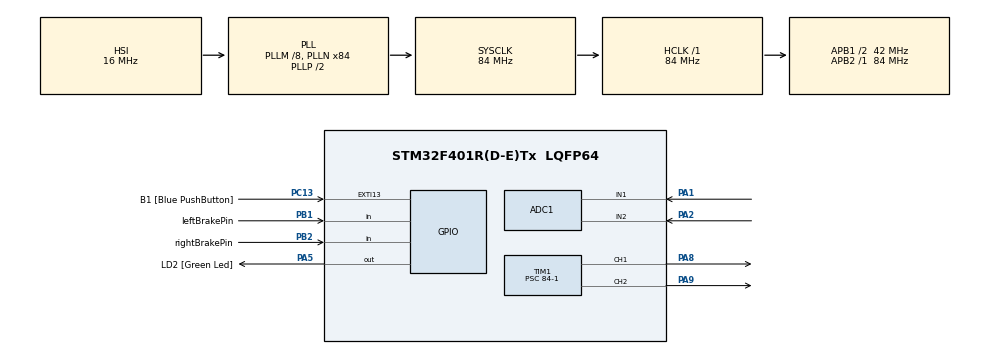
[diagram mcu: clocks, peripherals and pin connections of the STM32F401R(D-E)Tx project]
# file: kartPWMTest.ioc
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ADC1.Channel-0\#ChannelRegularConversion=ADC_CHANNEL_1
ADC1.Channel-1\#ChannelRegularConversion=ADC_CHANNEL_2
ADC1.ContinuousConvMode=ENABLE
ADC1.DMAContinuousRequests=ENABLE
ADC1.DataAlign=ADC_DATAALIGN_RIGHT
ADC1.InjNumberOfConversion=0
ADC1.NbrOfConversion=2
ADC1.NbrOfConversionFlag=1
ADC1.Rank-0\#ChannelRegularConversion=1
ADC1.Rank-1\#ChannelRegularConversion=2
ADC1.SamplingTime-0\#ChannelRegularConversion=ADC_SAMPLETIME_480CYCLES
ADC1.SamplingTime-1\#ChannelRegularConversion=ADC_SAMPLETIME_480CYCLES
ADC1.ScanConvMode=ENABLE
ADC1.master=1
Dma.ADC1.1.Direction=DMA_PERIPH_TO_MEMORY
Dma.ADC1.1.FIFOMode=DMA_FIFOMODE_DISABLE
Dma.ADC1.1.Instance=DMA2_Stream0
Dma.ADC1.1.MemDataAlignment=DMA_MDATAALIGN_WORD
Dma.ADC1.1.MemInc=DMA_MINC_ENABLE
Dma.ADC1.1.Mode=DMA_CIRCULAR
Dma.ADC1.1.PeriphDataAlignment=DMA_PDATAALIGN_WORD
Dma.ADC1.1.PeriphInc=DMA_PINC_DISABLE
Dma.ADC1.1.Priority=DMA_PRIORITY_LOW
Dma.Request0=TIM1_CH1
Dma.Request1=ADC1
Dma.Request2=TIM1_CH2
Dma.TIM1_CH1.0.Direction=DMA_MEMORY_TO_PERIPH
Dma.TIM1_CH1.0.FIFOMode=DMA_FIFOMODE_DISABLE
Dma.TIM1_CH1.0.Instance=DMA2_Stream1
Dma.TIM1_CH1.0.MemDataAlignment=DMA_MDATAALIGN_HALFWORD
Dma.TIM1_CH1.0.MemInc=DMA_MINC_ENABLE
Dma.TIM1_CH1.0.Mode=DMA_NORMAL
Dma.TIM1_CH1.0.PeriphDataAlignment=DMA_PDATAALIGN_HALFWORD
Dma.TIM1_CH1.0.PeriphInc=DMA_PINC_DISABLE
Dma.TIM1_CH1.0.Priority=DMA_PRIORITY_LOW
Dma.TIM1_CH2.2.Direction=DMA_MEMORY_TO_PERIPH
Dma.TIM1_CH2.2.FIFOMode=DMA_FIFOMODE_DISABLE
Dma.TIM1_CH2.2.Instance=DMA2_Stream2
Dma.TIM1_CH2.2.MemDataAlignment=DMA_MDATAALIGN_HALFWORD
Dma.TIM1_CH2.2.MemInc=DMA_MINC_ENABLE
Dma.TIM1_CH2.2.Mode=DMA_NORMAL
Dma.TIM1_CH2.2.PeriphDataAlignment=DMA_PDATAALIGN_HALFWORD
Dma.TIM1_CH2.2.PeriphInc=DMA_PINC_DISABLE
Dma.TIM1_CH2.2.Priority=DMA_PRIORITY_LOW
Mcu.Family=STM32F4
Mcu.Name=STM32F401R(D-E)Tx
Mcu.Package=LQFP64
NVIC.DMA2_Stream0_IRQn=true\:0\:0\:false\:false\:true\:false\:true\:true
NVIC.DMA2_Stream1_IRQn=true\:0\:0\:false\:false\:true\:false\:true\:true
NVIC.DMA2_Stream2_IRQn=true\:0\:0\:false\:false\:true\:false\:true\:true
NVIC.EXTI15_10_IRQn=true\:0\:0\:false\:false\:true\:true\:true\:true
NVIC.PriorityGroup=NVIC_PRIORITYGROUP_0
PA1.Signal=ADCx_IN1
PA13.GPIO_Label=TMS
PA13.Mode=Serial_Wire
PA13.Signal=SYS_JTMS-SWDIO
PA14.GPIO_Label=TCK
PA14.Mode=Serial_Wire
PA14.Signal=SYS_JTCK-SWCLK
PA2.Signal=ADCx_IN2
PA3.GPIO_Label=USART_RX
PA3.GPIO_Mode=GPIO_MODE_AF_PP
PA3.GPIO_PuPd=GPIO_NOPULL
PA3.GPIO_Speed=GPIO_SPEED_FREQ_LOW
PA3.Signal=USART2_RX
PA5.GPIO_Label=LD2 [Green Led]
PA5.GPIO_Mode=GPIO_MODE_OUTPUT_PP
PA5.GPIO_PuPd=GPIO_NOPULL
PA5.GPIO_Speed=GPIO_SPEED_FREQ_LOW
PA5.Signal=GPIO_Output
PA8.Signal=S_TIM1_CH1
PA9.Signal=S_TIM1_CH2
PB1.GPIO_Label=leftBrakePin
PB1.Signal=GPIO_Input
PB2.GPIO_Label=rightBrakePin
PB2.Signal=GPIO_Input
PB3.GPIO_Label=SWO
PB3.Signal=SYS_JTDO-SWO
PC13-ANTI_TAMP.GPIO_Label=B1 [Blue PushButton]
PC13-ANTI_TAMP.GPIO_ModeDefaultEXTI=GPIO_MODE_IT_FALLING
PC13-ANTI_TAMP.GPIO_PuPd=GPIO_NOPULL
PC13-ANTI_TAMP.Signal=GPXTI13
PC14-OSC32_IN.Mode=LSE-External-Oscillator
PC14-OSC32_IN.Signal=RCC_OSC32_IN
PC15-OSC32_OUT.Mode=LSE-External-Oscillator
PC15-OSC32_OUT.Signal=RCC_OSC32_OUT
PH0\ -\ OSC_IN.Mode=HSE-External-Clock-Source
PH0\ -\ OSC_IN.Signal=RCC_OSC_IN
PH1\ -\ OSC_OUT.Mode=HSE-External-Clock-Source
PH1\ -\ OSC_OUT.Signal=RCC_OSC_OUT
ProjectManager.HeapSize=0x200
ProjectManager.StackSize=0x400
ProjectManager.TargetToolchain=STM32CubeIDE
RCC.48MHZClocksFreq_Value=24000000
RCC.AHBFreq_Value=84000000
RCC.APB1CLKDivider=RCC_HCLK_DIV2
RCC.APB1Freq_Value=42000000
RCC.APB1TimFreq_Value=84000000
RCC.APB2Freq_Value=84000000
RCC.APB2TimFreq_Value=84000000
RCC.CortexFreq_Value=84000000
RCC.HCLKFreq_Value=84000000
RCC.HSE_VALUE=8000000
RCC.HSI_VALUE=16000000
RCC.PLLM=8
RCC.PLLN=84
RCC.PLLQ=7
RCC.SYSCLKFreq_VALUE=84000000
RCC.SYSCLKSource=RCC_SYSCLKSOURCE_PLLCLK
RCC.VCOOutputFreq_Value=168000000
SH.ADCx_IN1.0=ADC1_IN1,IN1
SH.ADCx_IN2.0=ADC1_IN2,IN2
SH.S_TIM1_CH1.0=TIM1_CH1,PWM Generation1 CH1
SH.S_TIM1_CH2.0=TIM1_CH2,Output Compare2 CH2
TIM1.Channel-Output\ Compare2\ CH2=TIM_CHANNEL_2
TIM1.Channel-PWM\ Generation1\ CH1=TIM_CHANNEL_1
TIM1.Period=100-1
TIM1.Prescaler=84-1
VP_TIM1_VS_ClockSourceINT.Mode=Internal
board=NUCLEO-F401RE

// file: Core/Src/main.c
/* USER CODE BEGIN Header */
/**
  ******************************************************************************
  * @file           : main.c
  * @brief          : Main program body
  ******************************************************************************
  * @attention
  *
  * Copyright (c) 2024 STMicroelectronics.
  * All rights reserved.
  *
  * This software is licensed under terms that can be found in the LICENSE file
  * in the root directory of this software component.
  * If no LICENSE file comes with this software, it is provided AS-IS.
  *
  ******************************************************************************
  */
/* USER CODE END Header */
#include "main.h"
#include "adc.h"
#include "dma.h"
#include "tim.h"
#include "gpio.h"

/* USER CODE BEGIN Includes */

#include <stdio.h>

/* USER CODE END Includes */

void SystemClock_Config(void);
/* USER CODE BEGIN PFP */

uint32_t map(uint32_t x, uint32_t in_min, uint32_t in_max, uint32_t out_min, uint32_t out_max);

void analogWriteLeft(int val);

void analogWriteRight(int val);
/* USER CODE END PFP */

/* USER CODE BEGIN 0 */

uint8_t sig = 0;

/* USER CODE END 0 */

int main(void)
{

  /* USER CODE BEGIN 1 */

	// [0] includes x values, [1] includes y values
	uint32_t xyData[2];

	//__attribute__((aligned(4))) uint32_t xyData[2];

  /* USER CODE END 1 */

  /* MCU Configuration--------------------------------------------------------*/

  /* Reset of all peripherals, Initializes the Flash interface and the Systick. */
  HAL_Init();

  /* Configure the system clock */
  SystemClock_Config();

  /* Initialize all configured peripherals */
  MX_GPIO_Init();
  MX_DMA_Init();
  MX_TIM1_Init();
  MX_ADC1_Init();
  /* USER CODE BEGIN 2 */

	// Assign 30% duty cycle of 30% by assigning CCR1 register within TIM1
	TIM1->CCR1 = 30;
	TIM1->CCR2 = 30;

	// Begin the PWM timer
	HAL_TIM_PWM_Start(&htim1, TIM_CHANNEL_1);
	HAL_TIM_PWM_Start(&htim1, TIM_CHANNEL_2);

	//Start ADC through DMA
	HAL_ADC_Start_DMA(&hadc1, xyData, 2);

  /* USER CODE END 2 */

  /* Infinite loop */
  /* USER CODE BEGIN WHILE */
///////////////////////////////////////////////////////////////////////////////////////
	// Parameter used to adjust turning sensitivity.
	double turnFactor = 1;
	double base, adjust, rightMotor, leftMotor;

  while (1)
  {
    /* USER CODE END WHILE */

    /* USER CODE BEGIN 3 */

	  // Calculate the base value linearly scaling the joystick in the y direction.

	  // 0 - 4095

  }
  /* USER CODE END 3 */
}

void SystemClock_Config(void)
{
  RCC_OscInitTypeDef RCC_OscInitStruct = {0};
  RCC_ClkInitTypeDef RCC_ClkInitStruct = {0};

  /** Configure the main internal regulator output voltage
  */
  __HAL_RCC_PWR_CLK_ENABLE();
  __HAL_PWR_VOLTAGESCALING_CONFIG(PWR_REGULATOR_VOLTAGE_SCALE2);

  /** Initializes the RCC Oscillators according to the specified parameters
  * in the RCC_OscInitTypeDef structure.
  */
  RCC_OscInitStruct.OscillatorType = RCC_OSCILLATORTYPE_HSI;
  RCC_OscInitStruct.HSIState = RCC_HSI_ON;
  RCC_OscInitStruct.HSICalibrationValue = RCC_HSICALIBRATION_DEFAULT;
  RCC_OscInitStruct.PLL.PLLState = RCC_PLL_ON;
  RCC_OscInitStruct.PLL.PLLSource = RCC_PLLSOURCE_HSI;
  RCC_OscInitStruct.PLL.PLLM = 8;
  RCC_OscInitStruct.PLL.PLLN = 84;
  RCC_OscInitStruct.PLL.PLLP = RCC_PLLP_DIV2;
  RCC_OscInitStruct.PLL.PLLQ = 7;
  if (HAL_RCC_OscConfig(&RCC_OscInitStruct) != HAL_OK)
  {
    Error_Handler();
  }

  /** Initializes the CPU, AHB and APB buses clocks
  */
  RCC_ClkInitStruct.ClockType = RCC_CLOCKTYPE_HCLK|RCC_CLOCKTYPE_SYSCLK
                              |RCC_CLOCKTYPE_PCLK1|RCC_CLOCKTYPE_PCLK2;
  RCC_ClkInitStruct.SYSCLKSource = RCC_SYSCLKSOURCE_PLLCLK;
  RCC_ClkInitStruct.AHBCLKDivider = RCC_SYSCLK_DIV1;
  RCC_ClkInitStruct.APB1CLKDivider = RCC_HCLK_DIV2;
  RCC_ClkInitStruct.APB2CLKDivider = RCC_HCLK_DIV1;

  if (HAL_RCC_ClockConfig(&RCC_ClkInitStruct, FLASH_LATENCY_2) != HAL_OK)
  {
    Error_Handler();
  }
}

/* USER CODE BEGIN 4 */

uint32_t map(uint32_t x, uint32_t in_min, uint32_t in_max, uint32_t out_min, uint32_t out_max) {
  return (x - in_min) * (out_max - out_min) / (in_max - in_min) + out_min;
}

void analogWriteLeft(int val) {
	TIM1->CCR1 = val;
}

void analogWriteRight(int val) {
	TIM1->CCR2 = val;
}

/* USER CODE END 4 */

void Error_Handler(void)
{
  __disable_irq();
  while (1)
  {
  }
}
